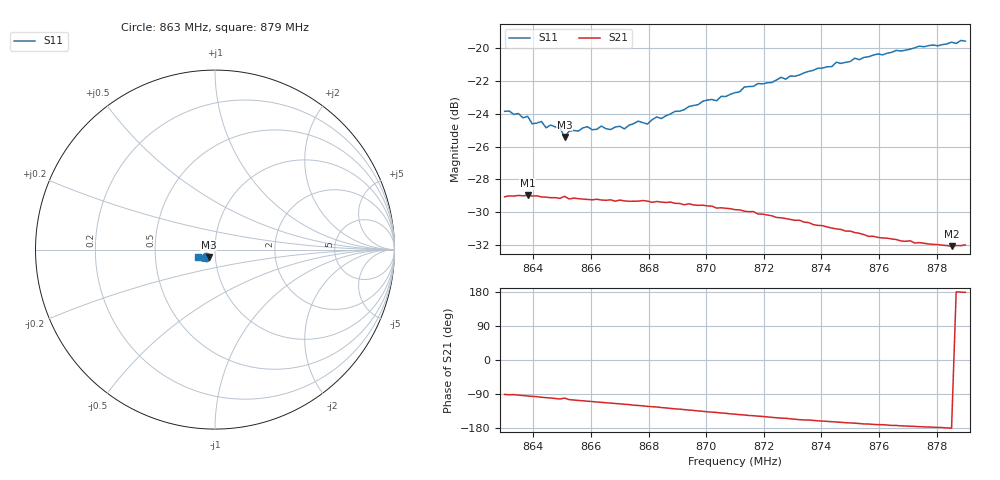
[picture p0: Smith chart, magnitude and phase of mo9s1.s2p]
# HZ S RI R 50
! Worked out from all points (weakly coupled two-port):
!   101 points, 863 MHz to 879 MHz, reference 50 ohm
!   highest |S21| = -28.98 dB at 863.8 MHz (marker M1); lowest = -32.1 dB at 878.52 MHz (marker M2)
!   lowest |S11| = -25.4 dB at 865.08 MHz (marker M3), VSWR 1.11, Z = 46.6 - j3.89 ohm
!   |S11| at or under -10 dB: start of sweep to end of sweep
!   S12 and S22 are empty: the file has one direction only
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8.63e8  -0.0493 -0.0411  -0.000582 -0.0352  0 0  0 0
8.638e8  -0.0468 -0.0407  -0.00312 -0.0354  0 0  0 0
8.6396e8  -0.0438 -0.0392  -0.00367 -0.0352  0 0  0 0
8.6428e8  -0.042 -0.0425  -0.00511 -0.0348  0 0  0 0
8.6444e8  -0.0418 -0.039  -0.00573 -0.0347  0 0  0 0
8.646e8  -0.0413 -0.0411  -0.00621 -0.0345  0 0  0 0
8.6492e8  -0.0393 -0.0415  -0.00778 -0.034  0 0  0 0
8.6508e8  -0.0339 -0.0416  -0.00645 -0.0348  0 0  0 0
8.6524e8  -0.0375 -0.0414  -0.00873 -0.0336  0 0  0 0
8.6572e8  -0.0367 -0.0438  -0.0105 -0.0331  0 0  0 0
8.6716e8  -0.0324 -0.0466  -0.0154 -0.0306  0 0  0 0
8.6764e8  -0.034 -0.0493  -0.0171 -0.0296  0 0  0 0
8.6796e8  -0.0316 -0.0495  -0.0183 -0.0289  0 0  0 0
8.6828e8  -0.0331 -0.0521  -0.019 -0.0283  0 0  0 0
8.6844e8  -0.0328 -0.0515  -0.0197 -0.0277  0 0  0 0
8.71e8  -0.0404 -0.061  -0.0257 -0.0194  0 0  0 0
8.7132e8  -0.0423 -0.0633  -0.0261 -0.0183  0 0  0 0
8.7372e8  -0.0559 -0.0649  -0.0271 -0.0102  0 0  0 0
8.7452e8  -0.0639 -0.0642  -0.027 -0.00792  0 0  0 0
8.7644e8  -0.0777 -0.0582  -0.026 -0.00333  0 0  0 0
8.7852e8  -0.0939 -0.0454  -0.0249 -0.000136  0 0  0 0
8.79e8  -0.097 -0.0404  -0.0251 0.000673  0 0  0 0
